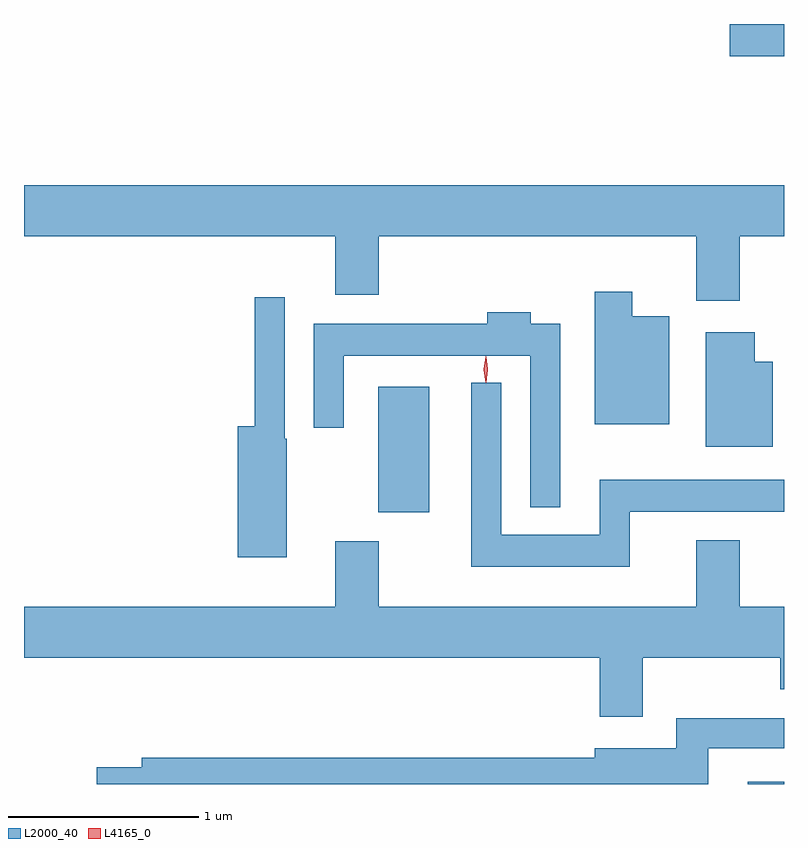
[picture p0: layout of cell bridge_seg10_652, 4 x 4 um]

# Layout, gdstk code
import gdstk
lib = gdstk.Library(unit=1e-6, precision=1e-09)
def R(c, l, rs):  # rectangles x0, y0, x1, y1
    for r in rs: c.add(gdstk.rectangle(r[:2], r[2:], *l))
def P(c, l, *ps):  # polygons
    for p in ps: c.add(gdstk.Polygon(p, *l))
L2000_40 = (2000, 40)
L4165_0 = (4165, 0)

bridge_seg10_652 = lib.new_cell('bridge_seg10_652')
R(bridge_seg10_652, L2000_40, [(870.631,2144.332,870.822,2144.344), (868.686,2145.761,868.954,2146.424), (870.536,2148.161,870.822,2148.332)])
P(bridge_seg10_652, L2000_40, [(870.589,2147.216),(870.822,2147.216),(870.822,2147.484),(866.822,2147.484),(866.822,2147.216),(868.461,2147.216),(868.461,2146.906),(868.689,2146.906),(868.689,2147.216),(870.361,2147.216),(870.361,2146.876),(870.589,2146.876)],
  [(870.219,2146.794),(870.024,2146.794),(870.024,2146.924),(869.826,2146.924),(869.826,2146.226),(870.219,2146.226)],
  [(868.204,2146.15),(868.194,2146.15),(868.194,2146.893),(868.036,2146.893),(868.036,2146.214),(867.946,2146.214),(867.946,2145.526),(868.204,2145.526)],
  [(869.644,2146.754),(869.489,2146.754),(869.489,2146.814),(869.261,2146.814),(869.261,2146.754),(868.346,2146.754),(868.346,2146.208),(868.504,2146.208),(868.504,2146.586),(869.486,2146.586),(869.486,2145.788),(869.644,2145.788)],
  [(870.764,2146.554),(870.669,2146.554),(870.669,2146.709),(870.411,2146.709),(870.411,2146.106),(870.764,2146.106)],
  [(870.009,2145.766),(870.822,2145.766),(870.822,2145.934),(869.851,2145.934),(869.851,2145.644),(869.334,2145.644),(869.334,2146.443),(869.176,2146.443),(869.176,2145.476),(870.009,2145.476)],
  [(870.079,2144.996),(870.801,2144.996),(870.801,2144.831),(870.822,2144.831),(870.822,2145.264),(870.589,2145.264),(870.589,2145.614),(870.361,2145.614),(870.361,2145.264),(868.689,2145.264),(868.689,2145.609),(868.461,2145.609),(868.461,2145.264),(866.822,2145.264),(866.822,2144.996),(869.851,2144.996),(869.851,2144.686),(870.079,2144.686)],
  [(870.424,2144.521),(870.822,2144.521),(870.822,2144.679),(870.256,2144.679),(870.256,2144.519),(869.826,2144.519),(869.826,2144.469),(867.441,2144.469),(867.441,2144.419),(867.206,2144.419),(867.206,2144.332),(870.424,2144.332)])
P(bridge_seg10_652, L4165_0, [(869.253,2146.447),(869.253,2146.447),(869.243,2146.514),(869.253,2146.58),(869.253,2146.58),(869.254,2146.58),(869.263,2146.514),(869.254,2146.447)],
  [(869.253,2146.443),(869.253,2146.444),(869.243,2146.513),(869.253,2146.582),(869.253,2146.583),(869.254,2146.582),(869.263,2146.513),(869.254,2146.444)])

lib.write_gds('bridge_seg10_652.gds')
